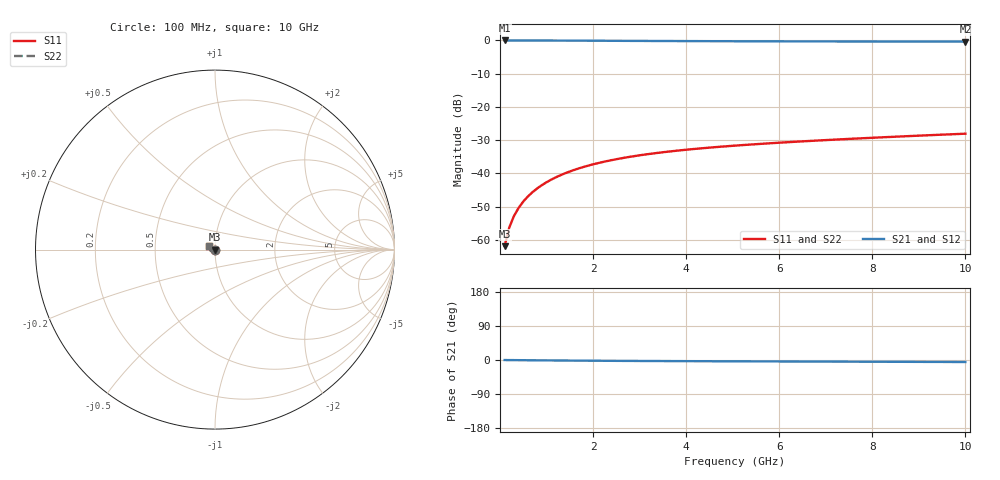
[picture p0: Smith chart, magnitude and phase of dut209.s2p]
! Touchstone file exported from HFSS 2024.1.0
!  File:  C:/UserFiles/LocalFiles/RDL_TSV_Batchsim/temp_TSV1_209_1779386619.aedt
!  Generated:  02:09:06 AM May 22, 2026
!  Design:  TSV1
!  Project:  temp_TSV1_209_1779386619
!  Setup:  Setup1
!  Solution:  Sweep
! Variables:
!  dtsv = 6.86um
!  hbump = 3um
!  htsv = 79.52um
!  lrdl = 252.1521522um
!  p = 40
!  p1 = 50.9um
!  t = 500um
!  trdl = 3um
!  wrdl = 24.89489489um
# GHz S MA R 50.000000
! Terminal data exported
! Port[1] = TSV22_T1
! Port[2] = TSV22_T2
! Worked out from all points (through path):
!   100 points, 100 MHz to 10 GHz, reference 50 ohm
!   highest |S21| = 0.00 dB at 100 MHz (marker M1); lowest = -0.3 dB at 10 GHz (marker M2)
!   lowest |S11| = -61.9 dB at 100 MHz (marker M3), VSWR 1.00, Z = 50 - j0.0754 ohm
!   |S11| at or under -10 dB: start of sweep to end of sweep
!   |S22| runs from -61.9 to -28.1 dB; largest |S21 - S12| = 1.7e-14
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0.1  0.0008026 -69.9  0.9997 -0.1  0.9997 -0.1  0.0008026 -69.9
! Gamma 0 0 0 0
! Port Impedance 50 0 50 0
0.2  0.001533 -82.7  0.9996 -0.2  0.9996 -0.2  0.001533 -82.7
0.3  0.002275 -88.6  0.9994 -0.3  0.9994 -0.3  0.002275 -88.6
0.4  0.003018 -92.6  0.9992 -0.4  0.9992 -0.4  0.003018 -92.6
0.5  0.003757 -95.8  0.999 -0.5  0.999 -0.5  0.003757 -95.8
0.6  0.004491 -98.7  0.9987 -0.6  0.9987 -0.6  0.004491 -98.7
0.7  0.005218 -101.3  0.9983 -0.7  0.9983 -0.7  0.005218 -101.3
0.8  0.005937 -103.8  0.9979 -0.8  0.9979 -0.8  0.005937 -103.8
0.9  0.006647 -106.1  0.9975 -0.9  0.9975 -0.9  0.006647 -106.1
1.1  0.008035 -110.6  0.9965 -1.1  0.9965 -1.1  0.008035 -110.6
1.4  0.01003 -116.9  0.9948 -1.4  0.9948 -1.4  0.01003 -116.9
1.6  0.0113 -120.9  0.9935 -1.6  0.9935 -1.6  0.0113 -120.9
1.8  0.01251 -124.7  0.9921 -1.7  0.9921 -1.7  0.01251 -124.7
2.1  0.01422 -130.2  0.99 -2.0  0.99 -2.0  0.01422 -130.2
2.5  0.01633 -137.0  0.9872 -2.2  0.9872 -2.2  0.01633 -137.0
2.9  0.01824 -143.4  0.9844 -2.5  0.9844 -2.5  0.01824 -143.4
3.4  0.02038 -150.7  0.9812 -2.8  0.9812 -2.8  0.02038 -150.8
4.2  0.02337 -161.2  0.9766 -3.1  0.9766 -3.1  0.02337 -161.2
5.1  0.02629 -171.3  0.9724 -3.5  0.9724 -3.5  0.02629 -171.3
6.7  0.03086 174.1  0.967 -4.1  0.967 -4.1  0.03086 174.1
8.4  0.03536 161.9  0.9631 -4.7  0.9631 -4.7  0.03536 161.9
10  0.03953 152.6  0.9606 -5.3  0.9606 -5.3  0.03953 152.6
